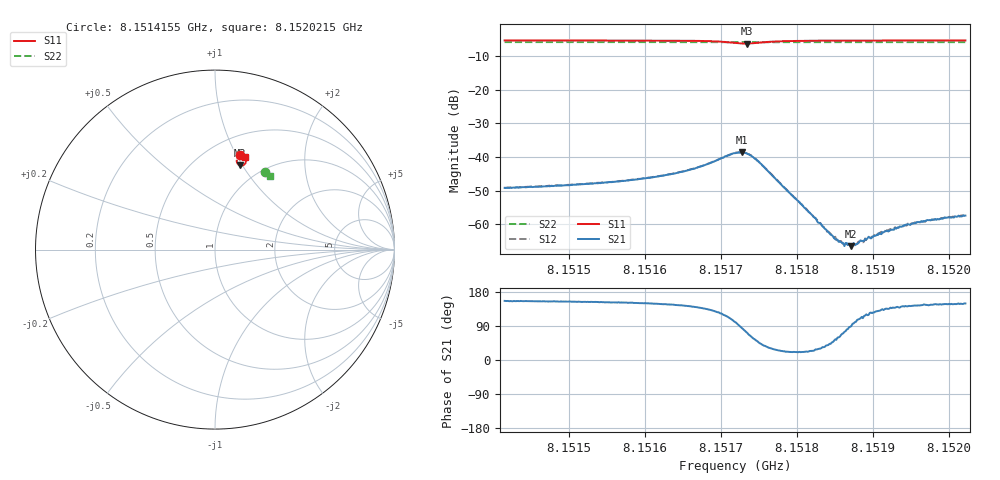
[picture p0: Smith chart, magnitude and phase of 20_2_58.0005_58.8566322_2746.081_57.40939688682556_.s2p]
#  HZ  S  RI  R  50.00
! Rohde & Schwarz Vector Network Analyzer
! Rohde-Schwarz,ZNB20-2Port,1311601062101988,3.16
! Created: UTC 3/21/2024, 12:51:09 AM
! freq[Hz]  re:S11  im:S11  re:S21  im:S21  re:S12  im:S12  re:S22  im:S22
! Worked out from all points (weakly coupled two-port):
!   401 points, 8.1514155 GHz to 8.1520215 GHz, reference 50 ohm
!   highest |S21| = -38.57 dB at 8.1517276 GHz (marker M1); lowest = -66.5 dB at 8.1518716 GHz (marker M2)
!   lowest |S11| = -6.2 dB at 8.1517337 GHz (marker M3), VSWR 2.92, Z = 39.4 + j48.7 ohm
!   |S11| at or under -10 dB: nowhere
!   |S22| runs from -5.8 to -5.8 dB; largest |S21 - S12| = 0.00027
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8.15141555e9  0.1369 0.5264  -0.00318 0.00142  -0.00318 0.00148  0.2778 0.4327
8.15151705e9  0.1461 0.5238  -0.00354 0.00179  -0.00352 0.00182  0.2833 0.429
8.15157462e9  0.1523 0.5213  -0.0039 0.00211  -0.00389 0.00221  0.2864 0.4267
8.15161856e9  0.1583 0.5184  -0.00438 0.00274  -0.00438 0.00284  0.2888 0.425
8.15166552e9  0.1668 0.5106  -0.00517 0.00432  -0.0052 0.00449  0.2912 0.4229
8.15171855e9  0.1625 0.4735  -0.00204 0.0112  -0.00205 0.0114  0.2931 0.4196
8.15172764e9  0.1481 0.4682  0.00117 0.0117  0.00127 0.0118  0.293 0.4194
8.1517337e9  0.1369 0.47  0.00329 0.0109  0.00336 0.0109  0.2929 0.4192
8.15174733e9  0.1222 0.4864  0.00571 0.00683  0.00593 0.00684  0.2933 0.4196
8.1517746e9  0.1277 0.5113  0.00395 0.00191  0.00407 0.0019  0.2954 0.4195
8.15182005e9  0.1426 0.5197  0.00125 0.000561  0.00127 0.000561  0.2982 0.418
8.15183672e9  0.1461 0.5203  0.0007 0.00049  0.000722 0.000493  0.2992 0.4173
8.15185187e9  0.1489 0.5205  0.000351 0.000474  0.000366 0.000453  0.3001 0.4167
8.15186247e9  0.1507 0.5205  0.000128 0.000455  0.000134 0.0005  0.3007 0.4162
8.15187156e9  0.152 0.5205  3.71e-06 0.000471  6.05e-06 0.000494  0.301 0.416
8.15187914e9  0.1531 0.5204  -0.000138 0.000492  -0.000119 0.000496  0.3016 0.4155
8.1518852e9  0.1539 0.5204  -0.000224 0.000513  -0.000199 0.000508  0.3019 0.4154
8.15190792e9  0.1566 0.5201  -0.000472 0.000564  -0.000472 0.000555  0.3032 0.4146
8.15192156e9  0.1581 0.5198  -0.00057 0.000556  -0.000592 0.000587  0.3039 0.414
8.15194277e9  0.1604 0.5194  -0.000777 0.000598  -0.000731 0.000624  0.3049 0.4131
8.15196095e9  0.1622 0.519  -0.000862 0.000629  -0.000849 0.000649  0.3059 0.4123
8.15202155e9  0.1676 0.5177  -0.00115 0.000689  -0.00119 0.000754  0.3091 0.41
